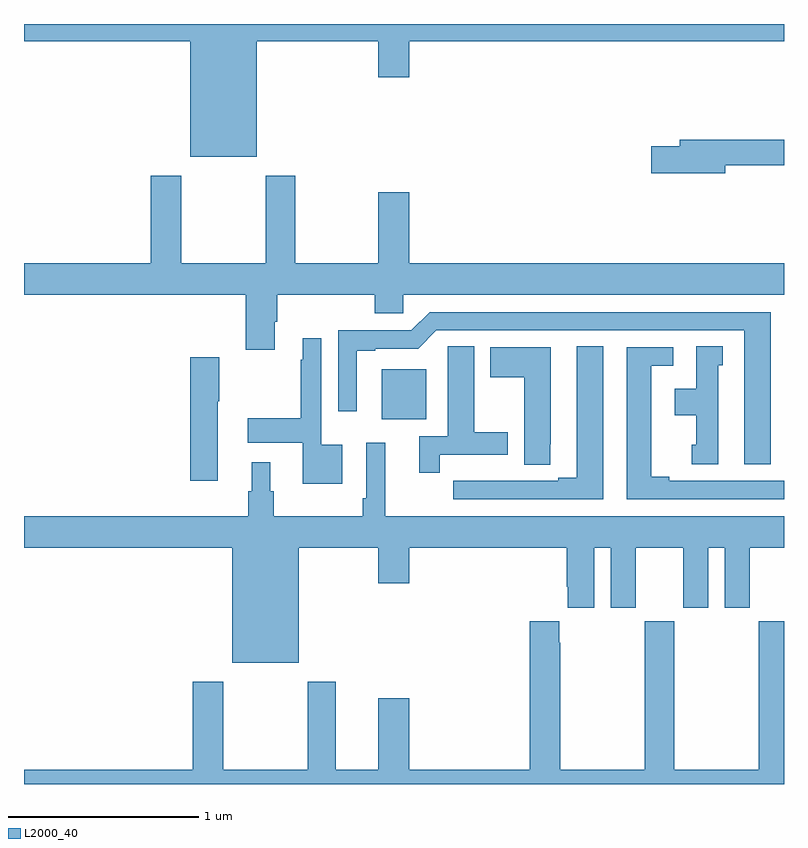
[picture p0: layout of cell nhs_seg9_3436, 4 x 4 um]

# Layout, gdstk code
import gdstk
lib = gdstk.Library(unit=1e-6, precision=1e-09)
def R(c, l, rs):  # rectangles x0, y0, x1, y1
    for r in rs: c.add(gdstk.rectangle(r[:2], r[2:], *l))
def P(c, l, *ps):  # polygons
    for p in ps: c.add(gdstk.Polygon(p, *l))
L2000_40 = (2000, 40)

nhs_seg9_3436 = lib.new_cell('nhs_seg9_3436')
R(nhs_seg9_3436, L2000_40, [(308.882,1206.419,309.118,1206.682)])
P(nhs_seg9_3436, L2000_40, [(308.224,1208.408),(308.864,1208.408),(308.864,1208.22),(309.028,1208.22),(309.028,1208.408),(311,1208.408),(311,1208.5),(307,1208.5),(307,1208.408),(307.874,1208.408),(307.874,1207.802),(308.224,1207.802)],
  [(310.69,1207.756),(311,1207.756),(311,1207.892),(310.451,1207.892),(310.451,1207.856),(310.302,1207.856),(310.302,1207.714),(310.69,1207.714)],
  [(308.32,1206.934),(308.333,1206.934),(308.333,1207.076),(308.846,1207.076),(308.846,1206.978),(308.997,1206.978),(308.997,1207.076),(311,1207.076),(311,1207.24),(309.028,1207.24),(309.028,1207.615),(308.864,1207.615),(308.864,1207.24),(308.427,1207.24),(308.427,1207.702),(308.272,1207.702),(308.272,1207.24),(307.827,1207.24),(307.827,1207.702),(307.667,1207.702),(307.667,1207.24),(307,1207.24),(307,1207.076),(308.168,1207.076),(308.168,1206.786),(308.32,1206.786)],
  [(310.93,1206.984),(309.135,1206.984),(309.039,1206.888),(308.655,1206.888),(308.655,1206.462),(308.752,1206.462),(308.752,1206.78),(308.848,1206.78),(308.848,1206.792),(309.075,1206.792),(309.171,1206.888),(310.79,1206.888),(310.79,1206.183),(310.93,1206.183)],
  [(308.674,1206.286),(308.565,1206.286),(308.565,1206.847),(308.468,1206.847),(308.468,1206.734),(308.457,1206.734),(308.457,1206.426),(308.178,1206.426),(308.178,1206.296),(308.468,1206.296),(308.468,1206.08),(308.674,1206.08)],
  [(310.654,1206.705),(310.678,1206.705),(310.678,1206.803),(310.538,1206.803),(310.538,1206.58),(310.424,1206.58),(310.424,1206.44),(310.538,1206.44),(310.538,1206.285),(310.514,1206.285),(310.514,1206.183),(310.654,1206.183)],
  [(309.188,1206.234),(309.547,1206.234),(309.547,1206.351),(309.37,1206.351),(309.37,1206.803),(309.231,1206.803),(309.231,1206.692),(309.23,1206.692),(309.23,1206.33),(309.08,1206.33),(309.08,1206.138),(309.188,1206.138)],
  [(310.048,1206.803),(309.908,1206.803),(309.908,1206.111),(309.812,1206.111),(309.812,1206.096),(309.536,1206.096),(309.536,1206.097),(309.37,1206.097),(309.37,1206.096),(309.258,1206.096),(309.258,1206),(310.048,1206)],
  [(309.771,1206.289),(309.772,1206.289),(309.772,1206.799),(309.455,1206.799),(309.455,1206.64),(309.632,1206.64),(309.632,1206.181),(309.771,1206.181)],
  [(311,1206.096),(310.396,1206.096),(310.396,1206.116),(310.3,1206.116),(310.3,1206.702),(310.417,1206.702),(310.417,1206.798),(310.172,1206.798),(310.172,1206),(311,1206)],
  [(308.02,1206.514),(308.028,1206.514),(308.028,1206.745),(307.874,1206.745),(307.874,1206.096),(308.02,1206.096)],
  [(308.296,1206.042),(308.296,1206.193),(308.198,1206.193),(308.198,1206.042),(308.179,1206.042),(308.179,1205.908),(307,1205.908),(307,1205.744),(308.096,1205.744),(308.096,1205.138),(308.446,1205.138),(308.446,1205.744),(308.864,1205.744),(308.864,1205.556),(309.028,1205.556),(309.028,1205.744),(309.857,1205.744),(309.857,1205.539),(309.863,1205.539),(309.863,1205.427),(310,1205.427),(310,1205.744),(310.088,1205.744),(310.088,1205.427),(310.219,1205.427),(310.219,1205.744),(310.469,1205.744),(310.469,1205.427),(310.6,1205.427),(310.6,1205.744),(310.688,1205.744),(310.688,1205.427),(310.819,1205.427),(310.819,1205.744),(311,1205.744),(311,1205.908),(308.9,1205.908),(308.9,1206.295),(308.802,1206.295),(308.802,1206.004),(308.782,1206.004),(308.782,1205.908),(308.315,1205.908),(308.315,1206.042)],
  [(307,1204.5),(311,1204.5),(311,1205.356),(310.867,1205.356),(310.867,1204.576),(310.422,1204.576),(310.422,1205.356),(310.267,1205.356),(310.267,1204.576),(309.822,1204.576),(309.822,1205.243),(309.817,1205.243),(309.817,1205.356),(309.662,1205.356),(309.662,1204.576),(309.028,1204.576),(309.028,1204.951),(308.864,1204.951),(308.864,1204.576),(308.641,1204.576),(308.641,1205.038),(308.494,1205.038),(308.494,1204.576),(308.049,1204.576),(308.049,1205.038),(307.889,1205.038),(307.889,1204.576),(307,1204.576)])

lib.write_gds('nhs_seg9_3436.gds')
